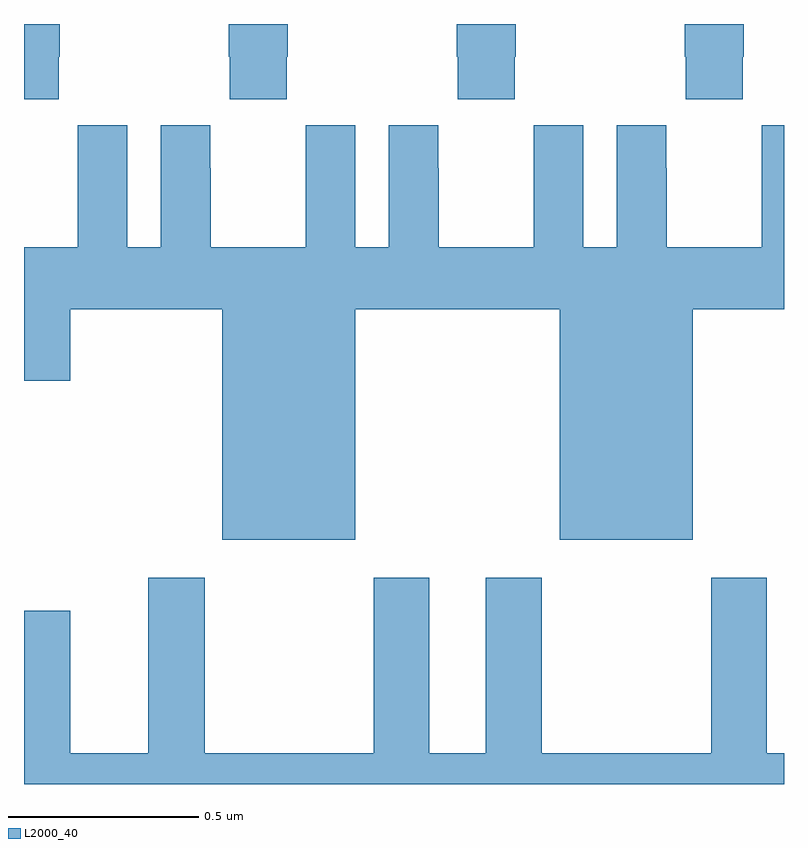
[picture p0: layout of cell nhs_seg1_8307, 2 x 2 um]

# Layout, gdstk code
import gdstk
lib = gdstk.Library(unit=1e-6, precision=1e-09)
def P(c, l, *ps):  # polygons
    for p in ps: c.add(gdstk.Polygon(p, *l))
L2000_40 = (2000, 40)

nhs_seg1_8307 = lib.new_cell('nhs_seg1_8307')
P(nhs_seg1_8307, L2000_40, [(215.091,503.113),(215.094,503.113),(215.094,503.199),(215,503.199),(215,503.001),(215.091,503.001)],
  [(215.691,503.113),(215.694,503.113),(215.694,503.199),(215.539,503.199),(215.539,503.113),(215.541,503.113),(215.541,503.001),(215.691,503.001)],
  [(216.291,503.113),(216.294,503.113),(216.294,503.199),(216.139,503.199),(216.139,503.113),(216.141,503.113),(216.141,503.001),(216.291,503.001)],
  [(216.891,503.113),(216.894,503.113),(216.894,503.199),(216.739,503.199),(216.739,503.113),(216.741,503.113),(216.741,503.001),(216.891,503.001)],
  [(215.872,502.448),(216.41,502.448),(216.41,501.842),(216.76,501.842),(216.76,502.448),(217,502.448),(217,502.933),(216.942,502.933),(216.942,502.82),(216.941,502.82),(216.941,502.612),(216.691,502.612),(216.691,502.82),(216.69,502.82),(216.69,502.933),(216.56,502.933),(216.56,502.612),(216.472,502.612),(216.472,502.933),(216.342,502.933),(216.342,502.82),(216.341,502.82),(216.341,502.612),(216.091,502.612),(216.091,502.82),(216.09,502.82),(216.09,502.933),(215.96,502.933),(215.96,502.612),(215.872,502.612),(215.872,502.933),(215.742,502.933),(215.742,502.82),(215.741,502.82),(215.741,502.612),(215.491,502.612),(215.491,502.82),(215.49,502.82),(215.49,502.933),(215.36,502.933),(215.36,502.612),(215.272,502.612),(215.272,502.933),(215.142,502.933),(215.142,502.82),(215.141,502.82),(215.141,502.612),(215,502.612),(215,502.26),(215.122,502.26),(215.122,502.448),(215.522,502.448),(215.522,501.842),(215.872,501.842)],
  [(217,501.28),(216.955,501.28),(216.955,501.742),(216.808,501.742),(216.808,501.28),(216.363,501.28),(216.363,501.742),(216.215,501.742),(216.215,501.28),(216.067,501.28),(216.067,501.742),(215.92,501.742),(215.92,501.28),(215.475,501.28),(215.475,501.742),(215.327,501.742),(215.327,501.28),(215.122,501.28),(215.122,501.655),(215,501.655),(215,501.199),(217,501.199)])

lib.write_gds('nhs_seg1_8307.gds')
